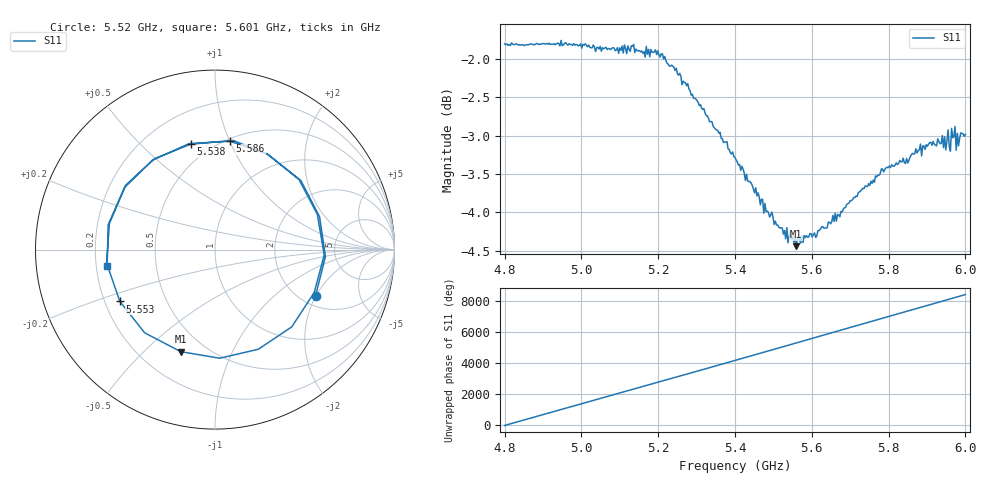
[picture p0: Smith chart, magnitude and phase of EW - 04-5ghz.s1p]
! NanoVNA-App
! Date: 2026-05-22 16:01:48
! Start: 4.8GHz Stop: 6GHz Points: 401
! S-Parameter data: F S11
# Hz S RI R 50
!  Frequency  S11_Real  S11_Imag
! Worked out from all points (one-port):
!   401 points, 4.8 GHz to 6 GHz, reference 50 ohm
!   lowest |S11| = -4.4 dB at 5.559 GHz (marker M1), VSWR 4.00, Z = 18.4 - j32.6 ohm
!   |S11| at or under -10 dB: nowhere
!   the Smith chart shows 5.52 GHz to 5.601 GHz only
!   S11 on the Smith chart (normalised r, x): 5.52 GHz: 2.39, -1.98; 5.538 GHz: 0.39, +0.72; 5.553 GHz: 0.26, -0.24; 5.586 GHz: 0.52, +1.00; 5.601 GHz: 0.25, -0.07
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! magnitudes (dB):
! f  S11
! 4.8 GHz  -1.8
! 4.95 GHz  -1.8
! 5.1 GHz  -1.9
! 5.13 GHz  -1.8
! 5.16 GHz  -1.9
! 5.193 GHz  -1.9
! 5.214 GHz  -2.0
! 5.25 GHz  -2.2
! 5.4 GHz  -3.3
! 5.481 GHz  -4.0
! 5.52 GHz  -4.2
! 5.538 GHz  -4.4
! 5.55 GHz  -4.3
! 5.553 GHz  -4.4
! 5.559 GHz  -4.4
! 5.586 GHz  -4.3
! 5.601 GHz  -4.3
! 5.637 GHz  -4.2
! 5.7 GHz  -3.8
! 5.787 GHz  -3.5
! 5.85 GHz  -3.4
! 5.877 GHz  -3.2
! 5.904 GHz  -3.1
! 5.934 GHz  -3.1
! 5.955 GHz  -2.9
! 5.967 GHz  -3.0
! 5.982 GHz  -3.1
! 6 GHz  -3.0
